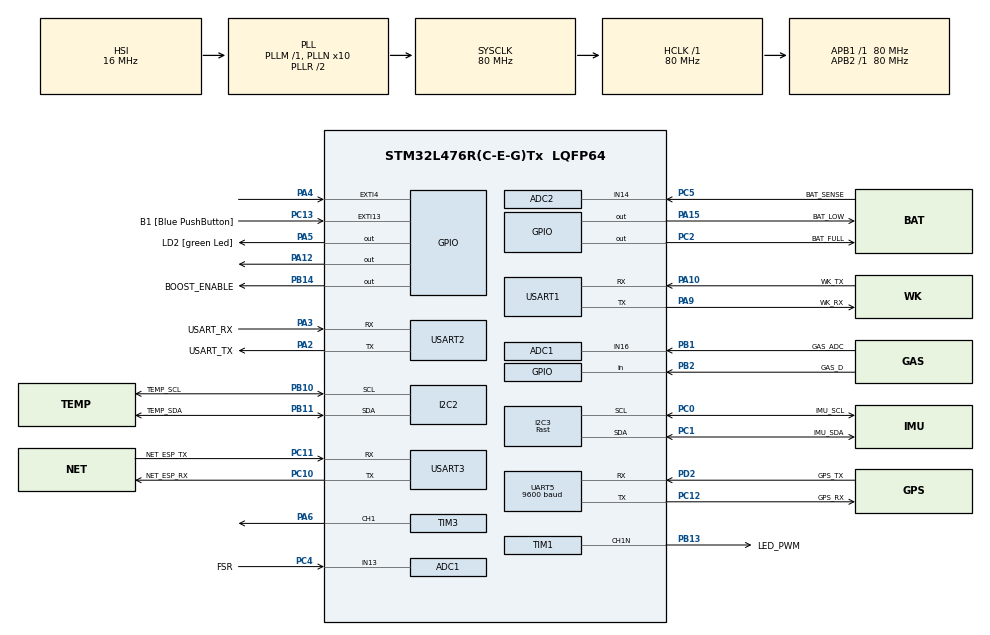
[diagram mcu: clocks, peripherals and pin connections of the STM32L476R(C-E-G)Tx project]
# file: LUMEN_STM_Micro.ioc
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ADC1.Channel-0\#ChannelRegularConversion=ADC_CHANNEL_16
ADC1.NbrOfConversionFlag=1
ADC1.OffsetNumber-0\#ChannelRegularConversion=ADC_OFFSET_NONE
ADC1.Rank-0\#ChannelRegularConversion=1
ADC1.SamplingTime-0\#ChannelRegularConversion=ADC_SAMPLETIME_2CYCLES_5
ADC1.master=1
ADC2.Channel-0\#ChannelRegularConversion=ADC_CHANNEL_14
ADC2.NbrOfConversionFlag=1
ADC2.OffsetNumber-0\#ChannelRegularConversion=ADC_OFFSET_NONE
ADC2.Rank-0\#ChannelRegularConversion=1
ADC2.SamplingTime-0\#ChannelRegularConversion=ADC_SAMPLETIME_2CYCLES_5
Dma.Request0=UART5_RX
Dma.UART5_RX.0.Direction=DMA_PERIPH_TO_MEMORY
Dma.UART5_RX.0.Instance=DMA2_Channel2
Dma.UART5_RX.0.MemDataAlignment=DMA_MDATAALIGN_BYTE
Dma.UART5_RX.0.MemInc=DMA_MINC_ENABLE
Dma.UART5_RX.0.Mode=DMA_NORMAL
Dma.UART5_RX.0.PeriphDataAlignment=DMA_PDATAALIGN_BYTE
Dma.UART5_RX.0.PeriphInc=DMA_PINC_DISABLE
Dma.UART5_RX.0.Priority=DMA_PRIORITY_LOW
FREERTOS.Tasks01=defaultTask,0,128,StartDefaultTask,Default,NULL,Dynamic,NULL,NULL
FREERTOS.configUSE_NEWLIB_REENTRANT=1
I2C2.Timing=0x10909CEC
I2C3.I2C_Speed_Mode=I2C_Fast
I2C3.Timing=0x00702991
Mcu.Family=STM32L4
Mcu.Name=STM32L476R(C-E-G)Tx
Mcu.Package=LQFP64
NVIC.DMA2_Channel2_IRQn=true\:5\:0\:false\:false\:true\:true\:false\:true\:true
NVIC.EXTI15_10_IRQn=true\:5\:0\:false\:false\:true\:true\:true\:true\:true
NVIC.EXTI4_IRQn=true\:5\:0\:false\:false\:true\:true\:true\:true\:true
NVIC.PriorityGroup=NVIC_PRIORITYGROUP_4
NVIC.TIM6_DAC_IRQn=true\:15\:0\:false\:false\:true\:false\:false\:true\:true
NVIC.TimeBase=TIM6_DAC_IRQn
NVIC.TimeBaseIP=TIM6
NVIC.UART5_IRQn=true\:5\:0\:true\:false\:true\:true\:true\:true\:true
PA10.GPIO_Label=WK_TX
PA10.Mode=Asynchronous
PA10.Signal=USART1_RX
PA12.Signal=GPIO_Output
PA13\ (JTMS-SWDIO).GPIO_Label=TMS
PA13\ (JTMS-SWDIO).Mode=Serial_Wire
PA13\ (JTMS-SWDIO).Signal=SYS_JTMS-SWDIO
PA14\ (JTCK-SWCLK).GPIO_Label=TCK
PA14\ (JTCK-SWCLK).Mode=Serial_Wire
PA14\ (JTCK-SWCLK).Signal=SYS_JTCK-SWCLK
PA15\ (JTDI).GPIO_Label=BAT_LOW
PA15\ (JTDI).Signal=GPIO_Output
PA2.GPIO_Label=USART_TX
PA2.GPIO_Mode=GPIO_MODE_AF_PP
PA2.GPIO_PuPd=GPIO_NOPULL
PA2.GPIO_Speed=GPIO_SPEED_FREQ_VERY_HIGH
PA2.Mode=Asynchronous
PA2.Signal=USART2_TX
PA3.GPIO_Label=USART_RX
PA3.GPIO_Mode=GPIO_MODE_AF_PP
PA3.GPIO_PuPd=GPIO_NOPULL
PA3.GPIO_Speed=GPIO_SPEED_FREQ_VERY_HIGH
PA3.Mode=Asynchronous
PA3.Signal=USART2_RX
PA4.Signal=GPXTI4
PA5.GPIO_Label=LD2 [green Led]
PA5.GPIO_ModeDefaultOutputPP=GPIO_MODE_OUTPUT_PP
PA5.GPIO_PuPd=GPIO_NOPULL
PA5.GPIO_Speed=GPIO_SPEED_FREQ_LOW
PA5.Signal=GPIO_Output
PA6.Signal=S_TIM3_CH1
PA9.GPIO_Label=WK_RX
PA9.Mode=Asynchronous
PA9.Signal=USART1_TX
PB1.GPIO_Label=GAS_ADC
PB1.Signal=ADCx_IN16
PB10.GPIO_Label=TEMP_SCL
PB10.Mode=I2C
PB10.Signal=I2C2_SCL
PB11.GPIO_Label=TEMP_SDA
PB11.Mode=I2C
PB11.Signal=I2C2_SDA
PB13.GPIO_Label=LED_PWM
PB13.Mode=PWM Generation1 CH1N
PB13.Signal=TIM1_CH1N
PB14.GPIO_Label=BOOST_ENABLE
PB14.Signal=GPIO_Output
PB2.GPIO_Label=GAS_D
PB2.Signal=GPIO_Input
PB3\ (JTDO-TRACESWO).GPIO_Label=SWO
PB3\ (JTDO-TRACESWO).Signal=SYS_JTDO-SWO
PC0.GPIO_Label=IMU_SCL
PC0.Mode=I2C
PC0.Signal=I2C3_SCL
PC1.GPIO_Label=IMU_SDA
PC1.Mode=I2C
PC1.Signal=I2C3_SDA
PC10.GPIO_Label=NET_ESP_RX
PC10.Mode=Asynchronous
PC10.Signal=USART3_TX
PC11.GPIO_Label=NET_ESP_TX
PC11.Mode=Asynchronous
PC11.Signal=USART3_RX
PC12.GPIO_Label=GPS_RX
PC12.Mode=Asynchronous
PC12.Signal=UART5_TX
PC13.GPIO_Label=B1 [Blue PushButton]
PC13.GPIO_ModeDefaultEXTI=GPIO_MODE_IT_FALLING
PC13.GPIO_PuPd=GPIO_NOPULL
PC13.Signal=GPXTI13
PC14-OSC32_IN\ (PC14).Signal=RCC_OSC32_IN
PC15-OSC32_OUT\ (PC15).Signal=RCC_OSC32_OUT
PC2.GPIO_Label=BAT_FULL
PC2.Signal=GPIO_Output
PC4.GPIO_Label=FSR
PC4.Signal=ADCx_IN13
PC5.GPIO_Label=BAT_SENSE
PC5.Signal=ADCx_IN14
PD2.GPIO_Label=GPS_TX
PD2.Mode=Asynchronous
PD2.Signal=UART5_RX
PH0-OSC_IN\ (PH0).Mode=HSE-External-Oscillator
PH0-OSC_IN\ (PH0).Signal=RCC_OSC_IN
PH1-OSC_OUT\ (PH1).Mode=HSE-External-Oscillator
PH1-OSC_OUT\ (PH1).Signal=RCC_OSC_OUT
ProjectManager.HeapSize=0x200
ProjectManager.StackSize=0x400
ProjectManager.TargetToolchain=STM32CubeIDE
RCC.ADCFreq_Value=64000000
RCC.AHBFreq_Value=80000000
RCC.APB1Freq_Value=80000000
RCC.APB1TimFreq_Value=80000000
RCC.APB2Freq_Value=80000000
RCC.APB2TimFreq_Value=80000000
RCC.CortexFreq_Value=80000000
RCC.HCLKFreq_Value=80000000
RCC.HSE_VALUE=8000000
RCC.HSI_VALUE=16000000
RCC.LSE_VALUE=32768
RCC.MSI_VALUE=4000000
RCC.PLLN=10
RCC.PLLSourceVirtual=RCC_PLLSOURCE_HSI
RCC.PREFETCH_ENABLE=1
RCC.SYSCLKFreq_VALUE=80000000
RCC.SYSCLKSource=RCC_SYSCLKSOURCE_PLLCLK
RCC.USBFreq_Value=64000000
RCC.VCOOutputFreq_Value=160000000
SH.ADCx_IN13.0=ADC1_IN13,IN13-Single-Ended
SH.ADCx_IN14.0=ADC2_IN14,IN14-Single-Ended
SH.ADCx_IN16.0=ADC1_IN16,IN16-Single-Ended
SH.S_TIM3_CH1.0=TIM3_CH1,PWM Generation1 CH1
TIM1.Channel-PWM\ Generation1\ CH1N=TIM_CHANNEL_1
TIM3.Channel-PWM\ Generation1\ CH1=TIM_CHANNEL_1
TIM3.Period=49999
TIM3.Prescaler=7
UART5.BaudRate=9600
USART1.VirtualMode-Asynchronous=VM_ASYNC
USART2.VirtualMode-Asynchronous=VM_ASYNC
USART3.VirtualMode-Asynchronous=VM_ASYNC
VP_FREERTOS_VS_CMSIS_V1.Mode=CMSIS_V1
VP_SYS_VS_tim6.Mode=TIM6
board=NUCLEO-L476RG

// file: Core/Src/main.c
/* USER CODE BEGIN Header */
/**
  ******************************************************************************
  * @file           : main.c
  * @brief          : Main program body
  ******************************************************************************
  * @attention
  *
  * Copyright (c) 2025 STMicroelectronics.
  * All rights reserved.
  *
  * This software is licensed under terms that can be found in the LICENSE file
  * in the root directory of this software component.
  * If no LICENSE file comes with this software, it is provided AS-IS.
  *
  ******************************************************************************
  */
/* USER CODE END Header */
#include "main.h"
#include "cmsis_os.h"

/* USER CODE BEGIN Includes */

//Sensor includes
#include "shtc3.h"
#include "mpu6050.h"
#include "usr_gnss_parser.h"
#include "MQ2inC.h"

//C includes
#include "string.h"
#include "stdbool.h"
//FreeRTOS includes
#include "FreeRTOS.h"
#include "task.h"
#include "timers.h"
#include "queue.h"
#include "semphr.h"
#include "event_groups.h"
/* USER CODE END Includes */

/* USER CODE BEGIN PD */
#define G_CONSTANT 9.81f
/* USER CODE END PD */

ADC_HandleTypeDef hadc1;
ADC_HandleTypeDef hadc2;

I2C_HandleTypeDef hi2c2;
I2C_HandleTypeDef hi2c3;

TIM_HandleTypeDef htim1;
TIM_HandleTypeDef htim3;

UART_HandleTypeDef huart5;
UART_HandleTypeDef huart1;
UART_HandleTypeDef huart2;
UART_HandleTypeDef huart3;
DMA_HandleTypeDef hdma_uart5_rx;

/* USER CODE BEGIN PV */
static int32_t temp;
static int32_t hum;
static int flag = 0;
static int state = 0;
typedef struct {

	int32_t temperature;
	int32_t humidity;
	float latitude;
    float longitude;
	float altitude;
	float time;
	double accelX;
	double accelY;
	double accelZ;
	float lpg;
	float smoke;
	float co;
	float batStatus;

}data;

static data sendData;
static data measuredData;
static float duty_cycle = 0.0;
static uint32_t cmp_reg;
static UBaseType_t watermark;
static MPU6050_t imuData;
static float calValue = 0.902;
static S_GPS_L86_DATA gpsData;
static bool sameValueLow = false;
static bool sameValueMedium = false;
static bool sameValueHigh = false;
static bool helmetOnFlag = false;
static bool helmetOffFlag = false;
static bool highTemp = false;
static bool lowTemp = false;
//static float batMaxVoltage = 4.2;
static float voltageThresholdMaximum = 3.78;
static float voltageThresholdMinimum = 3.37;

static float acc_threshold = 20*G_CONSTANT;
static float accx;
static unsigned long lastSendTime;
static unsigned long sendInterval = 30000;
static float accel;
static int FSR_reading;
/* USER CODE END PV */

void SystemClock_Config(void);
void PeriphCommonClock_Config(void);
static void MX_GPIO_Init(void);
static void MX_DMA_Init(void);
static void MX_USART2_UART_Init(void);
static void MX_I2C2_Init(void);
static void MX_ADC1_Init(void);
static void MX_I2C3_Init(void);
static void MX_UART5_Init(void);
static void MX_USART3_UART_Init(void);
static void MX_TIM1_Init(void);
static void MX_USART1_UART_Init(void);
static void MX_ADC2_Init(void);
static void MX_TIM3_Init(void);

/* USER CODE BEGIN 0 */

/* ------ TASK HANDLES ------ */

xTaskHandle Measurements_Handler;
xTaskHandle Sender_Handler;
xTaskHandle LED_Handler;

/* ------ QUEUE HANDLES ------ */

xQueueHandle Queue_Handler;

/* ------ SEMAPHORE HANDLES ------ */

xSemaphoreHandle PWM_Sem_Handler;

/* ------ TASK FUNCTIONS ------ */

void measurements_task(void *pvParameters);
void sender_task(void *pvParameters);
void LED_task(void *pvParameters);
float square(float number);

/* USER CODE END 0 */

int main(void)
{

  /* MCU Configuration--------------------------------------------------------*/

  /* Reset of all peripherals, Initializes the Flash interface and the Systick. */
  HAL_Init();

  /* Configure the system clock */
  SystemClock_Config();

/* Configure the peripherals common clocks */
  PeriphCommonClock_Config();

  /* Initialize all configured peripherals */
  MX_GPIO_Init();
  MX_DMA_Init();
  MX_USART2_UART_Init();
  MX_I2C2_Init();
  MX_ADC1_Init();
  MX_I2C3_Init();
  MX_UART5_Init();
  MX_USART3_UART_Init();
  MX_TIM1_Init();
  MX_USART1_UART_Init();
  MX_ADC2_Init();
  MX_TIM3_Init();
  /* USER CODE BEGIN 2 */

  //HAL_GPIO_WritePin(GPIOA, GPIO_PIN_12, GPIO_PIN_SET);
  HAL_GPIO_WritePin(GPIOB,GPIO_PIN_14,GPIO_PIN_SET);
  MPU6050_Init(&hi2c3);
  UsrGpsL86Init(&huart5);
  begin(&hadc1);
  char buffer[100] = "80\n";
  HAL_Delay(500);
  HAL_UART_Transmit(&huart1,(uint8_t*)buffer,strlen(buffer), 50);
  HAL_Delay(5000);
  //HAL_UART_Transmit(&huart1,(uint8_t*)buffer,strlen(buffer), 50);
  /* ------ QUEUE RELATED ------ */
  Queue_Handler = xQueueCreate(2,sizeof(data));
  if (Queue_Handler == NULL) {

      Error_Handler();
  }

  /* ------ TASK RELATED ------ */
  xTaskCreate(measurements_task, "measure", 1024, NULL, 3, &Measurements_Handler);
  xTaskCreate(sender_task, "send data", 1024, NULL, 2, &Sender_Handler);
  xTaskCreate(LED_task, "toggle LED", 128, NULL, 1, &LED_Handler);

  /* ------ SEMAPHORE/MUTEX RELATED ------ */
  PWM_Sem_Handler = xSemaphoreCreateBinary();
  if (PWM_Sem_Handler == NULL) {

        Error_Handler();
    }

  vTaskStartScheduler();
  /* USER CODE END 2 */

  /* We should never get here as control is now taken by the scheduler */
  /* Infinite loop */
  while (1)
  {

  }
}

void SystemClock_Config(void)
{
  RCC_OscInitTypeDef RCC_OscInitStruct = {0};
  RCC_ClkInitTypeDef RCC_ClkInitStruct = {0};

  /** Configure the main internal regulator output voltage
  */
  if (HAL_PWREx_ControlVoltageScaling(PWR_REGULATOR_VOLTAGE_SCALE1) != HAL_OK)
  {
    Error_Handler();
  }

  /** Initializes the RCC Oscillators according to the specified parameters
  * in the RCC_OscInitTypeDef structure.
  */
  RCC_OscInitStruct.OscillatorType = RCC_OSCILLATORTYPE_HSI;
  RCC_OscInitStruct.HSIState = RCC_HSI_ON;
  RCC_OscInitStruct.HSICalibrationValue = RCC_HSICALIBRATION_DEFAULT;
  RCC_OscInitStruct.PLL.PLLState = RCC_PLL_ON;
  RCC_OscInitStruct.PLL.PLLSource = RCC_PLLSOURCE_HSI;
  RCC_OscInitStruct.PLL.PLLM = 1;
  RCC_OscInitStruct.PLL.PLLN = 10;
  RCC_OscInitStruct.PLL.PLLP = RCC_PLLP_DIV7;
  RCC_OscInitStruct.PLL.PLLQ = RCC_PLLQ_DIV2;
  RCC_OscInitStruct.PLL.PLLR = RCC_PLLR_DIV2;
  if (HAL_RCC_OscConfig(&RCC_OscInitStruct) != HAL_OK)
  {
    Error_Handler();
  }

  /** Initializes the CPU, AHB and APB buses clocks
  */
  RCC_ClkInitStruct.ClockType = RCC_CLOCKTYPE_HCLK|RCC_CLOCKTYPE_SYSCLK
                              |RCC_CLOCKTYPE_PCLK1|RCC_CLOCKTYPE_PCLK2;
  RCC_ClkInitStruct.SYSCLKSource = RCC_SYSCLKSOURCE_PLLCLK;
  RCC_ClkInitStruct.AHBCLKDivider = RCC_SYSCLK_DIV1;
  RCC_ClkInitStruct.APB1CLKDivider = RCC_HCLK_DIV1;
  RCC_ClkInitStruct.APB2CLKDivider = RCC_HCLK_DIV1;

  if (HAL_RCC_ClockConfig(&RCC_ClkInitStruct, FLASH_LATENCY_4) != HAL_OK)
  {
    Error_Handler();
  }
}

void PeriphCommonClock_Config(void)
{
  RCC_PeriphCLKInitTypeDef PeriphClkInit = {0};

  /** Initializes the peripherals clock
  */
  PeriphClkInit.PeriphClockSelection = RCC_PERIPHCLK_ADC;
  PeriphClkInit.AdcClockSelection = RCC_ADCCLKSOURCE_PLLSAI1;
  PeriphClkInit.PLLSAI1.PLLSAI1Source = RCC_PLLSOURCE_HSI;
  PeriphClkInit.PLLSAI1.PLLSAI1M = 1;
  PeriphClkInit.PLLSAI1.PLLSAI1N = 8;
  PeriphClkInit.PLLSAI1.PLLSAI1P = RCC_PLLP_DIV7;
  PeriphClkInit.PLLSAI1.PLLSAI1Q = RCC_PLLQ_DIV2;
  PeriphClkInit.PLLSAI1.PLLSAI1R = RCC_PLLR_DIV2;
  PeriphClkInit.PLLSAI1.PLLSAI1ClockOut = RCC_PLLSAI1_ADC1CLK;
  if (HAL_RCCEx_PeriphCLKConfig(&PeriphClkInit) != HAL_OK)
  {
    Error_Handler();
  }
}

static void MX_ADC1_Init(void)
{

  ADC_MultiModeTypeDef multimode = {0};
  ADC_ChannelConfTypeDef sConfig = {0};

  /** Common config
  */
  hadc1.Instance = ADC1;
  hadc1.Init.ClockPrescaler = ADC_CLOCK_ASYNC_DIV1;
  hadc1.Init.Resolution = ADC_RESOLUTION_12B;
  hadc1.Init.DataAlign = ADC_DATAALIGN_RIGHT;
  hadc1.Init.ScanConvMode = ADC_SCAN_DISABLE;
  hadc1.Init.EOCSelection = ADC_EOC_SINGLE_CONV;
  hadc1.Init.LowPowerAutoWait = DISABLE;
  hadc1.Init.ContinuousConvMode = DISABLE;
  hadc1.Init.NbrOfConversion = 1;
  hadc1.Init.DiscontinuousConvMode = DISABLE;
  hadc1.Init.ExternalTrigConv = ADC_SOFTWARE_START;
  hadc1.Init.ExternalTrigConvEdge = ADC_EXTERNALTRIGCONVEDGE_NONE;
  hadc1.Init.DMAContinuousRequests = DISABLE;
  hadc1.Init.Overrun = ADC_OVR_DATA_PRESERVED;
  hadc1.Init.OversamplingMode = DISABLE;
  if (HAL_ADC_Init(&hadc1) != HAL_OK)
  {
    Error_Handler();
  }

  /** Configure the ADC multi-mode
  */
  multimode.Mode = ADC_MODE_INDEPENDENT;
  if (HAL_ADCEx_MultiModeConfigChannel(&hadc1, &multimode) != HAL_OK)
  {
    Error_Handler();
  }

  /** Configure Regular Channel
  */
  sConfig.Channel = ADC_CHANNEL_16;
  sConfig.Rank = ADC_REGULAR_RANK_1;
  sConfig.SamplingTime = ADC_SAMPLETIME_2CYCLES_5;
  sConfig.SingleDiff = ADC_SINGLE_ENDED;
  sConfig.OffsetNumber = ADC_OFFSET_NONE;
  sConfig.Offset = 0;
  if (HAL_ADC_ConfigChannel(&hadc1, &sConfig) != HAL_OK)
  {
    Error_Handler();
  }

}

static void MX_ADC2_Init(void)
{

  ADC_ChannelConfTypeDef sConfig = {0};

  /** Common config
  */
  hadc2.Instance = ADC2;
  hadc2.Init.ClockPrescaler = ADC_CLOCK_ASYNC_DIV1;
  hadc2.Init.Resolution = ADC_RESOLUTION_12B;
  hadc2.Init.DataAlign = ADC_DATAALIGN_RIGHT;
  hadc2.Init.ScanConvMode = ADC_SCAN_DISABLE;
  hadc2.Init.EOCSelection = ADC_EOC_SINGLE_CONV;
  hadc2.Init.LowPowerAutoWait = DISABLE;
  hadc2.Init.ContinuousConvMode = DISABLE;
  hadc2.Init.NbrOfConversion = 1;
  hadc2.Init.DiscontinuousConvMode = DISABLE;
  hadc2.Init.ExternalTrigConv = ADC_SOFTWARE_START;
  hadc2.Init.ExternalTrigConvEdge = ADC_EXTERNALTRIGCONVEDGE_NONE;
  hadc2.Init.DMAContinuousRequests = DISABLE;
  hadc2.Init.Overrun = ADC_OVR_DATA_PRESERVED;
  hadc2.Init.OversamplingMode = DISABLE;
  if (HAL_ADC_Init(&hadc2) != HAL_OK)
  {
    Error_Handler();
  }

  /** Configure Regular Channel
  */
  sConfig.Channel = ADC_CHANNEL_14;
  sConfig.Rank = ADC_REGULAR_RANK_1;
  sConfig.SamplingTime = ADC_SAMPLETIME_2CYCLES_5;
  sConfig.SingleDiff = ADC_SINGLE_ENDED;
  sConfig.OffsetNumber = ADC_OFFSET_NONE;
  sConfig.Offset = 0;
  if (HAL_ADC_ConfigChannel(&hadc2, &sConfig) != HAL_OK)
  {
    Error_Handler();
  }

}

static void MX_I2C2_Init(void)
{

  hi2c2.Instance = I2C2;
  hi2c2.Init.Timing = 0x10909CEC;
  hi2c2.Init.OwnAddress1 = 0;
  hi2c2.Init.AddressingMode = I2C_ADDRESSINGMODE_7BIT;
  hi2c2.Init.DualAddressMode = I2C_DUALADDRESS_DISABLE;
  hi2c2.Init.OwnAddress2 = 0;
  hi2c2.Init.OwnAddress2Masks = I2C_OA2_NOMASK;
  hi2c2.Init.GeneralCallMode = I2C_GENERALCALL_DISABLE;
  hi2c2.Init.NoStretchMode = I2C_NOSTRETCH_DISABLE;
  if (HAL_I2C_Init(&hi2c2) != HAL_OK)
  {
    Error_Handler();
  }

  /** Configure Analogue filter
  */
  if (HAL_I2CEx_ConfigAnalogFilter(&hi2c2, I2C_ANALOGFILTER_ENABLE) != HAL_OK)
  {
    Error_Handler();
  }

  /** Configure Digital filter
  */
  if (HAL_I2CEx_ConfigDigitalFilter(&hi2c2, 0) != HAL_OK)
  {
    Error_Handler();
  }

}

static void MX_I2C3_Init(void)
{

  hi2c3.Instance = I2C3;
  hi2c3.Init.Timing = 0x00702991;
  hi2c3.Init.OwnAddress1 = 0;
  hi2c3.Init.AddressingMode = I2C_ADDRESSINGMODE_7BIT;
  hi2c3.Init.DualAddressMode = I2C_DUALADDRESS_DISABLE;
  hi2c3.Init.OwnAddress2 = 0;
  hi2c3.Init.OwnAddress2Masks = I2C_OA2_NOMASK;
  hi2c3.Init.GeneralCallMode = I2C_GENERALCALL_DISABLE;
  hi2c3.Init.NoStretchMode = I2C_NOSTRETCH_DISABLE;
  if (HAL_I2C_Init(&hi2c3) != HAL_OK)
  {
    Error_Handler();
  }

  /** Configure Analogue filter
  */
  if (HAL_I2CEx_ConfigAnalogFilter(&hi2c3, I2C_ANALOGFILTER_ENABLE) != HAL_OK)
  {
    Error_Handler();
  }

  /** Configure Digital filter
  */
  if (HAL_I2CEx_ConfigDigitalFilter(&hi2c3, 0) != HAL_OK)
  {
    Error_Handler();
  }

}

static void MX_TIM1_Init(void)
{

  TIM_MasterConfigTypeDef sMasterConfig = {0};
  TIM_OC_InitTypeDef sConfigOC = {0};
  TIM_BreakDeadTimeConfigTypeDef sBreakDeadTimeConfig = {0};

  htim1.Instance = TIM1;
  htim1.Init.Prescaler = 0;
  htim1.Init.CounterMode = TIM_COUNTERMODE_UP;
  htim1.Init.Period = 65535;
  htim1.Init.ClockDivision = TIM_CLOCKDIVISION_DIV1;
  htim1.Init.RepetitionCounter = 0;
  htim1.Init.AutoReloadPreload = TIM_AUTORELOAD_PRELOAD_DISABLE;
  if (HAL_TIM_PWM_Init(&htim1) != HAL_OK)
  {
    Error_Handler();
  }
  sMasterConfig.MasterOutputTrigger = TIM_TRGO_RESET;
  sMasterConfig.MasterOutputTrigger2 = TIM_TRGO2_RESET;
  sMasterConfig.MasterSlaveMode = TIM_MASTERSLAVEMODE_DISABLE;
  if (HAL_TIMEx_MasterConfigSynchronization(&htim1, &sMasterConfig) != HAL_OK)
  {
    Error_Handler();
  }
  sConfigOC.OCMode = TIM_OCMODE_PWM1;
  sConfigOC.Pulse = 0;
  sConfigOC.OCPolarity = TIM_OCPOLARITY_HIGH;
  sConfigOC.OCNPolarity = TIM_OCNPOLARITY_HIGH;
  sConfigOC.OCFastMode = TIM_OCFAST_DISABLE;
  sConfigOC.OCIdleState = TIM_OCIDLESTATE_RESET;
  sConfigOC.OCNIdleState = TIM_OCNIDLESTATE_RESET;
  if (HAL_TIM_PWM_ConfigChannel(&htim1, &sConfigOC, TIM_CHANNEL_1) != HAL_OK)
  {
    Error_Handler();
  }
  sBreakDeadTimeConfig.OffStateRunMode = TIM_OSSR_DISABLE;
  sBreakDeadTimeConfig.OffStateIDLEMode = TIM_OSSI_DISABLE;
  sBreakDeadTimeConfig.LockLevel = TIM_LOCKLEVEL_OFF;
  sBreakDeadTimeConfig.DeadTime = 0;
  sBreakDeadTimeConfig.BreakState = TIM_BREAK_DISABLE;
  sBreakDeadTimeConfig.BreakPolarity = TIM_BREAKPOLARITY_HIGH;
  sBreakDeadTimeConfig.BreakFilter = 0;
  sBreakDeadTimeConfig.Break2State = TIM_BREAK2_DISABLE;
  sBreakDeadTimeConfig.Break2Polarity = TIM_BREAK2POLARITY_HIGH;
  sBreakDeadTimeConfig.Break2Filter = 0;
  sBreakDeadTimeConfig.AutomaticOutput = TIM_AUTOMATICOUTPUT_DISABLE;
  if (HAL_TIMEx_ConfigBreakDeadTime(&htim1, &sBreakDeadTimeConfig) != HAL_OK)
  {
    Error_Handler();
  }
  /* USER CODE BEGIN TIM1_Init 2 */
  HAL_TIMEx_PWMN_Start(&htim1, TIM_CHANNEL_1);
  /* USER CODE END TIM1_Init 2 */
  HAL_TIM_MspPostInit(&htim1);

}

static void MX_TIM3_Init(void)
{

  TIM_MasterConfigTypeDef sMasterConfig = {0};
  TIM_OC_InitTypeDef sConfigOC = {0};

  htim3.Instance = TIM3;
  htim3.Init.Prescaler = 7;
  htim3.Init.CounterMode = TIM_COUNTERMODE_UP;
  htim3.Init.Period = 49999;
  htim3.Init.ClockDivision = TIM_CLOCKDIVISION_DIV1;
  htim3.Init.AutoReloadPreload = TIM_AUTORELOAD_PRELOAD_DISABLE;
  if (HAL_TIM_PWM_Init(&htim3) != HAL_OK)
  {
    Error_Handler();
  }
  sMasterConfig.MasterOutputTrigger = TIM_TRGO_RESET;
  sMasterConfig.MasterSlaveMode = TIM_MASTERSLAVEMODE_DISABLE;
  if (HAL_TIMEx_MasterConfigSynchronization(&htim3, &sMasterConfig) != HAL_OK)
  {
    Error_Handler();
  }
  sConfigOC.OCMode = TIM_OCMODE_PWM1;
  sConfigOC.Pulse = 0;
  sConfigOC.OCPolarity = TIM_OCPOLARITY_HIGH;
  sConfigOC.OCFastMode = TIM_OCFAST_DISABLE;
  if (HAL_TIM_PWM_ConfigChannel(&htim3, &sConfigOC, TIM_CHANNEL_1) != HAL_OK)
  {
    Error_Handler();
  }
  /* USER CODE BEGIN TIM3_Init 2 */
  HAL_TIM_PWM_Start(&htim3, TIM_CHANNEL_1);
  /* USER CODE END TIM3_Init 2 */
  HAL_TIM_MspPostInit(&htim3);

}

static void MX_UART5_Init(void)
{

  huart5.Instance = UART5;
  huart5.Init.BaudRate = 9600;
  huart5.Init.WordLength = UART_WORDLENGTH_8B;
  huart5.Init.StopBits = UART_STOPBITS_1;
  huart5.Init.Parity = UART_PARITY_NONE;
  huart5.Init.Mode = UART_MODE_TX_RX;
  huart5.Init.HwFlowCtl = UART_HWCONTROL_NONE;
  huart5.Init.OverSampling = UART_OVERSAMPLING_16;
  huart5.Init.OneBitSampling = UART_ONE_BIT_SAMPLE_DISABLE;
  huart5.AdvancedInit.AdvFeatureInit = UART_ADVFEATURE_NO_INIT;
  if (HAL_UART_Init(&huart5) != HAL_OK)
  {
    Error_Handler();
  }

}

static void MX_USART1_UART_Init(void)
{

  huart1.Instance = USART1;
  huart1.Init.BaudRate = 9600;
  huart1.Init.WordLength = UART_WORDLENGTH_8B;
  huart1.Init.StopBits = UART_STOPBITS_1;
  huart1.Init.Parity = UART_PARITY_NONE;
  huart1.Init.Mode = UART_MODE_TX_RX;
  huart1.Init.HwFlowCtl = UART_HWCONTROL_NONE;
  huart1.Init.OverSampling = UART_OVERSAMPLING_16;
  huart1.Init.OneBitSampling = UART_ONE_BIT_SAMPLE_DISABLE;
  huart1.AdvancedInit.AdvFeatureInit = UART_ADVFEATURE_NO_INIT;
  if (HAL_UART_Init(&huart1) != HAL_OK)
  {
    Error_Handler();
  }

}

static void MX_USART2_UART_Init(void)
{

  huart2.Instance = USART2;
  huart2.Init.BaudRate = 115200;
  huart2.Init.WordLength = UART_WORDLENGTH_8B;
  huart2.Init.StopBits = UART_STOPBITS_1;
  huart2.Init.Parity = UART_PARITY_NONE;
  huart2.Init.Mode = UART_MODE_TX_RX;
  huart2.Init.HwFlowCtl = UART_HWCONTROL_NONE;
  huart2.Init.OverSampling = UART_OVERSAMPLING_16;
  huart2.Init.OneBitSampling = UART_ONE_BIT_SAMPLE_DISABLE;
  huart2.AdvancedInit.AdvFeatureInit = UART_ADVFEATURE_NO_INIT;
  if (HAL_UART_Init(&huart2) != HAL_OK)
  {
    Error_Handler();
  }

}

static void MX_USART3_UART_Init(void)
{

  huart3.Instance = USART3;
  huart3.Init.BaudRate = 115200;
  huart3.Init.WordLength = UART_WORDLENGTH_8B;
  huart3.Init.StopBits = UART_STOPBITS_1;
  huart3.Init.Parity = UART_PARITY_NONE;
  huart3.Init.Mode = UART_MODE_TX_RX;
  huart3.Init.HwFlowCtl = UART_HWCONTROL_NONE;
  huart3.Init.OverSampling = UART_OVERSAMPLING_16;
  huart3.Init.OneBitSampling = UART_ONE_BIT_SAMPLE_DISABLE;
  huart3.AdvancedInit.AdvFeatureInit = UART_ADVFEATURE_NO_INIT;
  if (HAL_UART_Init(&huart3) != HAL_OK)
  {
    Error_Handler();
  }

}

static void MX_DMA_Init(void)
{

  /* DMA controller clock enable */
  __HAL_RCC_DMA2_CLK_ENABLE();

  /* DMA interrupt init */
  /* DMA2_Channel2_IRQn interrupt configuration */
  HAL_NVIC_SetPriority(DMA2_Channel2_IRQn, 5, 0);
  HAL_NVIC_EnableIRQ(DMA2_Channel2_IRQn);

}

static void MX_GPIO_Init(void)
{
  GPIO_InitTypeDef GPIO_InitStruct = {0};

  /* GPIO Ports Clock Enable */
  __HAL_RCC_GPIOC_CLK_ENABLE();
  __HAL_RCC_GPIOH_CLK_ENABLE();
  __HAL_RCC_GPIOA_CLK_ENABLE();
  __HAL_RCC_GPIOB_CLK_ENABLE();
  __HAL_RCC_GPIOD_CLK_ENABLE();

  /*Configure GPIO pin Output Level */
  HAL_GPIO_WritePin(BAT_FULL_GPIO_Port, BAT_FULL_Pin, GPIO_PIN_RESET);

  /*Configure GPIO pin Output Level */
  HAL_GPIO_WritePin(GPIOA, LD2_Pin|GPIO_PIN_12|BAT_LOW_Pin, GPIO_PIN_RESET);

  /*Configure GPIO pin Output Level */
  HAL_GPIO_WritePin(BOOST_ENABLE_GPIO_Port, BOOST_ENABLE_Pin, GPIO_PIN_RESET);

  /*Configure GPIO pin : B1_Pin */
  GPIO_InitStruct.Pin = B1_Pin;
  GPIO_InitStruct.Mode = GPIO_MODE_IT_FALLING;
  GPIO_InitStruct.Pull = GPIO_NOPULL;
  HAL_GPIO_Init(B1_GPIO_Port, &GPIO_InitStruct);

  /*Configure GPIO pin : BAT_FULL_Pin */
  GPIO_InitStruct.Pin = BAT_FULL_Pin;
  GPIO_InitStruct.Mode = GPIO_MODE_OUTPUT_PP;
  GPIO_InitStruct.Pull = GPIO_NOPULL;
  GPIO_InitStruct.Speed = GPIO_SPEED_FREQ_LOW;
  HAL_GPIO_Init(BAT_FULL_GPIO_Port, &GPIO_InitStruct);

  /*Configure GPIO pin : PA4 */
  GPIO_InitStruct.Pin = GPIO_PIN_4;
  GPIO_InitStruct.Mode = GPIO_MODE_IT_RISING;
  GPIO_InitStruct.Pull = GPIO_NOPULL;
  HAL_GPIO_Init(GPIOA, &GPIO_InitStruct);

  /*Configure GPIO pins : LD2_Pin PA12 BAT_LOW_Pin */
  GPIO_InitStruct.Pin = LD2_Pin|GPIO_PIN_12|BAT_LOW_Pin;
  GPIO_InitStruct.Mode = GPIO_MODE_OUTPUT_PP;
  GPIO_InitStruct.Pull = GPIO_NOPULL;
  GPIO_InitStruct.Speed = GPIO_SPEED_FREQ_LOW;
  HAL_GPIO_Init(GPIOA, &GPIO_InitStruct);

  /*Configure GPIO pin : GAS_D_Pin */
  GPIO_InitStruct.Pin = GAS_D_Pin;
  GPIO_InitStruct.Mode = GPIO_MODE_INPUT;
  GPIO_InitStruct.Pull = GPIO_NOPULL;
  HAL_GPIO_Init(GAS_D_GPIO_Port, &GPIO_InitStruct);

  /*Configure GPIO pin : BOOST_ENABLE_Pin */
  GPIO_InitStruct.Pin = BOOST_ENABLE_Pin;
  GPIO_InitStruct.Mode = GPIO_MODE_OUTPUT_PP;
  GPIO_InitStruct.Pull = GPIO_NOPULL;
  GPIO_InitStruct.Speed = GPIO_SPEED_FREQ_LOW;
  HAL_GPIO_Init(BOOST_ENABLE_GPIO_Port, &GPIO_InitStruct);

  /* EXTI interrupt init*/
  HAL_NVIC_SetPriority(EXTI4_IRQn, 5, 0);
  HAL_NVIC_EnableIRQ(EXTI4_IRQn);

  HAL_NVIC_SetPriority(EXTI15_10_IRQn, 5, 0);
  HAL_NVIC_EnableIRQ(EXTI15_10_IRQn);

}

/* USER CODE BEGIN 4 */
	void measurements_task(void *pvParameters){
		while(1)
		{
			ADC_ChannelConfTypeDef sConfig;
			shtc3_perform_measurements(&hi2c2, &temp, &hum);

			MPU6050_Read_All(&hi2c3, &imuData);

			Usr_GpsL86GetValues(&gpsData);
			begin(&hadc1);
			measuredData.lpg = readLPG(&hadc1);
			measuredData.smoke = readSmoke(&hadc1);
			measuredData.co = readCO(&hadc1);
			HAL_ADC_Stop(&hadc1);
			sConfig.Channel = ADC_CHANNEL_13;
  	  	  	sConfig.Rank = ADC_REGULAR_RANK_1;
  	  	  	sConfig.SamplingTime = ADC_SAMPLETIME_2CYCLES_5;
  	  	  	sConfig.SingleDiff = ADC_SINGLE_ENDED;
  	  	  	sConfig.OffsetNumber = ADC_OFFSET_NONE;
  	  	  	sConfig.Offset = 0;

			if (HAL_ADC_ConfigChannel(&hadc1, &sConfig) != HAL_OK)
				{
				 Error_Handler();
				}
			HAL_ADC_Start(&hadc1); // start the adc

			HAL_ADC_PollForConversion(&hadc1, 100); // poll for conversion

			FSR_reading= HAL_ADC_GetValue(&hadc1); // get the adc value

			HAL_ADC_Stop(&hadc1); // stop adc*/

			measuredData.humidity = hum;
			measuredData.temperature = temp;
			measuredData.accelX = imuData.Ax;
			measuredData.accelY = imuData.Ay;
			measuredData.accelZ = imuData.Az;
			measuredData.latitude = gpsData.lat;
			measuredData.longitude = gpsData.lon;
			measuredData.altitude = gpsData.altitudeInMeter;
			//float gpsTimeSnapshot = gpsData.fixedTime;
			//measuredData.time = gpsTimeSnapshot;
			measuredData.time = gpsData.fixedTime;
			accx = measuredData.accelZ;

			HAL_ADC_Start(&hadc2);
			HAL_ADC_PollForConversion(&hadc2, 100);
			measuredData.batStatus = (HAL_ADC_GetValue(&hadc2)*4.2*calValue)/4095;
			HAL_ADC_Stop(&hadc2);

			accel = sqrt(square(imuData.Ax) + square(imuData.Ay) + square(imuData.Az));
			if (accel >= 2.0 ){
				char buffer[100];
				sprintf(buffer, "11\n");
				HAL_UART_Transmit(&huart3,(uint8_t*)buffer, strlen(buffer), 50);
			}

			if (measuredData.batStatus <= voltageThresholdMinimum && !sameValueLow){
				char buffer[100];
				sprintf(buffer,"10\n");
				HAL_UART_Transmit(&huart1,(uint8_t*)buffer,strlen(buffer), 50);
				HAL_UART_Transmit(&huart3,(uint8_t*)buffer,strlen(buffer), 50);
				HAL_GPIO_WritePin(GPIOA, GPIO_PIN_15, GPIO_PIN_SET);
				HAL_GPIO_WritePin(GPIOC, GPIO_PIN_2, GPIO_PIN_RESET);
				sameValueLow = true;
				sameValueMedium = false;
				sameValueHigh = false;
			}

			if (measuredData.batStatus >= voltageThresholdMinimum && measuredData.batStatus <= voltageThresholdMaximum && !sameValueMedium){
				char buffer[100];
				sprintf(buffer,"20\n");
				//HAL_UART_Transmit(&huart1,(uint8_t*)buffer,strlen(buffer), 50);
				HAL_UART_Transmit(&huart3,(uint8_t*)buffer,strlen(buffer), 50);
				HAL_GPIO_WritePin(GPIOA, GPIO_PIN_15, GPIO_PIN_RESET);
				HAL_GPIO_WritePin(GPIOC, GPIO_PIN_2, GPIO_PIN_RESET);
				sameValueLow = false;
				sameValueMedium = true;
				sameValueHigh = false;
			}

			if (measuredData.batStatus >= voltageThresholdMaximum && !sameValueHigh){
				char buffer[100];
				sprintf(buffer,"30\n");
				HAL_UART_Transmit(&huart1,(uint8_t*)buffer,strlen(buffer), 50);
				HAL_UART_Transmit(&huart3,(uint8_t*)buffer,strlen(buffer), 50);
				HAL_GPIO_WritePin(GPIOC, GPIO_PIN_2, GPIO_PIN_SET);
				HAL_GPIO_WritePin(GPIOA, GPIO_PIN_15, GPIO_PIN_RESET);
				sameValueLow = false;
				sameValueMedium = false;
				sameValueHigh = true;
			}

			if (measuredData.temperature >= 3000 && !highTemp){
				char buffer[100];
				sprintf(buffer,"40\n");
				HAL_UART_Transmit(&huart3,(uint8_t*)buffer,strlen(buffer), 50);
				HAL_UART_Transmit(&huart1,(uint8_t*)buffer,strlen(buffer), 50);
				highTemp = true;
				lowTemp = false;
			}else if(measuredData.temperature <= 3000 && !lowTemp){
				char buffer[100];
				sprintf(buffer,"70\n");
				HAL_UART_Transmit(&huart3,(uint8_t*)buffer,strlen(buffer), 50);
				highTemp = false;
				lowTemp = true;
			}

			if (FSR_reading >= 700.0 && !helmetOnFlag){
				char buffer[100];
				sprintf(buffer, "50\n");
				HAL_UART_Transmit(&huart3, (uint8_t*)buffer,strlen(buffer), 50);
				helmetOnFlag = true;
				helmetOffFlag = false;
			}else if (FSR_reading <= 700.0 && !helmetOffFlag){
				char buffer[100];
				sprintf(buffer, "60\n");
				HAL_UART_Transmit(&huart3, (uint8_t*)buffer,strlen(buffer), 50);
				helmetOnFlag = false;
			    helmetOffFlag = true;
			}

			unsigned long currentTime =  xTaskGetTickCount();

			if( currentTime - lastSendTime >= sendInterval){
			if(xQueueSend(Queue_Handler,&measuredData,portMAX_DELAY) == pdPASS){
				flag = 1;
			}
			lastSendTime = currentTime;
			}
			watermark = uxTaskGetStackHighWaterMark(NULL);
			vTaskDelay(pdMS_TO_TICKS(10));
		}
	}

	void sender_task(void *pvParameters){

		while(1){
			if(xQueueReceive(Queue_Handler, &sendData, portMAX_DELAY) == pdPASS){
				char buffer[100];
				sprintf(buffer,"%d %d %f %f %f %f %f %f\n", sendData.humidity, sendData.temperature,sendData.altitude,sendData.latitude,sendData.longitude,sendData.lpg,sendData.smoke,sendData.co);
				//xSemaphoreTake(AlarmMutex_Handler,portMAX_DELAY);
				HAL_UART_Transmit(&huart3,(uint8_t*)buffer, strlen(buffer), 50);
				//xSemaphoreGive(AlarmMutex_Handler);
			}
			//vTaskDelay(pdMS_TO_TICKS(0.5));
		}
	}

	void LED_task(void *pvParameters){

		while(1){
			if(xSemaphoreTake(PWM_Sem_Handler,portMAX_DELAY) == pdTRUE){

				if (state < 2){
							state++;
						}else state = 0;
					switch(state){
							  case 0:
								  cmp_reg = 0;
								  __HAL_TIM_SET_COMPARE(&htim3,TIM_CHANNEL_1,cmp_reg);
								  break;
							  case 1:
								  cmp_reg = 0.1 * htim3.Init.Period;
								  __HAL_TIM_SET_COMPARE(&htim3,TIM_CHANNEL_1,cmp_reg);
								  break;
							  case 2:
								  cmp_reg = 0.25 * htim3.Init.Period;
								  __HAL_TIM_SET_COMPARE(&htim3,TIM_CHANNEL_1,cmp_reg);
								  break;
					}
		}
	}
	}

	void HAL_GPIO_EXTI_Callback(uint16_t GPIO_Pin){
		if(GPIO_Pin == GPIO_PIN_4){
		  BaseType_t task_woken = pdFALSE;
		  xSemaphoreGiveFromISR(PWM_Sem_Handler,&task_woken);

		  if(task_woken){
			  portYIELD_FROM_ISR(task_woken);

		  }
		}
	  }

	/* ------- HELPING FUNCTIONS ------- */
	float square(float number){
		return number*number;
	}

/* USER CODE END 4 */

void HAL_TIM_PeriodElapsedCallback(TIM_HandleTypeDef *htim)
{
  if (htim->Instance == TIM6) {
    HAL_IncTick();
  }
}

void Error_Handler(void)
{
  __disable_irq();
  while (1)
  {
  }
}
